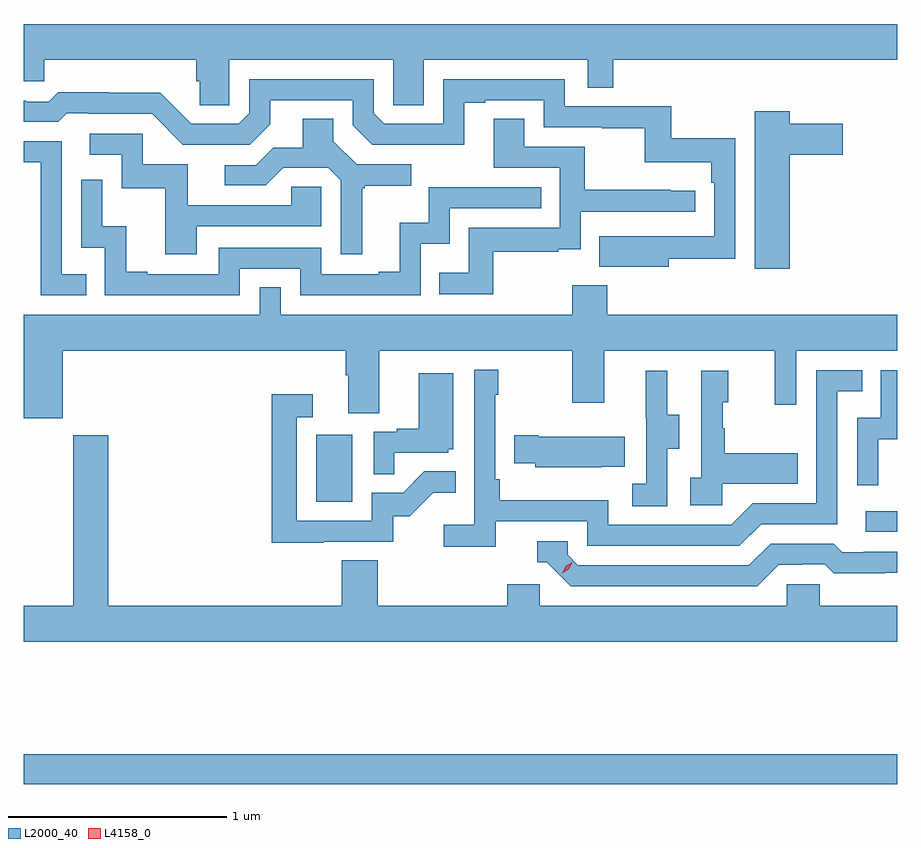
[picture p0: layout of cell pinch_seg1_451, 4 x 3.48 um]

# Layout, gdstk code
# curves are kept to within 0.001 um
import gdstk
lib = gdstk.Library(unit=1e-6, precision=1e-09)
def R(c, l, rs):  # rectangles x0, y0, x1, y1
    for r in rs: c.add(gdstk.rectangle(r[:2], r[2:], *l))
def P(c, l, *ps):  # polygons
    for p in ps: c.add(gdstk.Polygon(p, *l))
L2000_40 = (2000, 40)
L4158_0 = (4158, 0)

pinch_seg1_451 = lib.new_cell('pinch_seg1_451')
R(pinch_seg1_451, L2000_40, [(1010.91,503.128,1014.91,503.264), (1014.765,504.282,1014.91,504.378), (1012.25,504.42,1012.414,504.727)])
P(pinch_seg1_451, L2000_40, [(1011.852,506.444),(1012.602,506.444),(1012.602,506.236),(1012.741,506.236),(1012.741,506.444),(1013.493,506.444),(1013.493,506.317),(1013.609,506.317),(1013.609,506.444),(1014.91,506.444),(1014.91,506.608),(1010.91,506.608),(1010.91,506.346),(1011.003,506.346),(1011.003,506.444),(1011.701,506.444),(1011.701,506.346),(1011.715,506.346),(1011.715,506.236),(1011.852,506.236)],
  [(1013.863,505.534),(1014.168,505.534),(1014.168,506.086),(1013.875,506.086),(1013.875,506.232),(1013.388,506.232),(1013.388,506.355),(1012.83,506.355),(1012.83,506.151),(1012.56,506.151),(1012.512,506.199),(1012.512,506.355),(1011.942,506.355),(1011.942,506.199),(1011.894,506.151),(1011.678,506.151),(1011.536,506.293),(1011.3,506.293),(1011.3,506.296),(1011.067,506.296),(1011.025,506.253),(1010.922,506.253),(1010.922,506.256),(1010.91,506.256),(1010.91,506.16),(1011.067,506.16),(1011.106,506.199),(1011.205,506.199),(1011.205,506.196),(1011.498,506.196),(1011.639,506.055),(1011.945,506.055),(1012.039,506.149),(1012.039,506.259),(1012.416,506.259),(1012.416,506.145),(1012.506,506.055),(1012.927,506.054),(1012.927,506.247),(1013.023,506.247),(1013.023,506.259),(1013.292,506.259),(1013.292,506.136),(1013.557,506.136),(1013.557,506.131),(1013.754,506.131),(1013.754,505.976),(1014.059,505.976),(1014.059,505.88),(1014.072,505.88),(1014.072,505.635),(1013.545,505.636),(1013.545,505.496),(1013.863,505.496)],
  [(1014.418,506.009),(1014.661,506.009),(1014.661,506.151),(1014.418,506.151),(1014.418,506.209),(1014.257,506.209),(1014.257,505.488),(1014.418,505.488)],
  [(1013.059,505.566),(1013.357,505.566),(1013.357,505.577),(1013.46,505.577),(1013.46,505.749),(1013.986,505.749),(1013.986,505.845),(1013.873,505.845),(1013.873,505.85),(1013.48,505.85),(1013.48,506.046),(1013.203,506.046),(1013.203,506.174),(1013.063,506.174),(1013.063,505.95),(1013.364,505.95),(1013.364,505.674),(1012.948,505.674),(1012.948,505.468),(1012.813,505.468),(1012.813,505.371),(1013.059,505.371)],
  [(1012.459,505.857),(1012.471,505.857),(1012.471,505.868),(1012.684,505.868),(1012.684,505.965),(1012.434,505.965),(1012.327,506.072),(1012.327,506.174),(1012.187,506.174),(1012.187,506.042),(1012.052,506.042),(1011.972,505.962),(1011.831,505.962),(1011.831,505.869),(1012.018,505.869),(1012.099,505.95),(1012.305,505.95),(1012.362,505.893),(1012.362,505.554),(1012.459,505.554)],
  [(1011.703,505.683),(1012.272,505.683),(1012.272,505.863),(1012.135,505.863),(1012.135,505.779),(1011.661,505.779),(1011.661,505.965),(1011.456,505.965),(1011.456,506.106),(1011.213,506.106),(1011.213,506.01),(1011.36,506.01),(1011.36,505.857),(1011.559,505.857),(1011.559,505.554),(1011.703,505.554)],
  [(1011.197,505.461),(1011.084,505.461),(1011.084,506.07),(1010.91,506.07),(1010.91,505.974),(1010.988,505.974),(1010.988,505.365),(1011.197,505.365)],
  [(1011.9,505.488),(1012.176,505.488),(1012.176,505.365),(1012.728,505.365),(1012.728,505.601),(1012.86,505.601),(1012.86,505.764),(1013.279,505.764),(1013.279,505.86),(1012.764,505.86),(1012.764,505.699),(1012.631,505.699),(1012.631,505.474),(1012.535,505.474),(1012.535,505.461),(1012.272,505.461),(1012.272,505.584),(1011.804,505.584),(1011.804,505.461),(1011.475,505.461),(1011.475,505.474),(1011.38,505.474),(1011.38,505.682),(1011.27,505.682),(1011.27,505.894),(1011.174,505.894),(1011.174,505.584),(1011.282,505.584),(1011.282,505.365),(1011.9,505.365)],
  [(1011.088,505.112),(1012.385,505.112),(1012.385,505),(1012.397,505),(1012.397,504.826),(1012.537,504.826),(1012.537,505.112),(1013.422,505.112),(1013.422,504.873),(1013.569,504.873),(1013.569,505.112),(1014.35,505.112),(1014.35,504.864),(1014.447,504.864),(1014.447,505.112),(1014.91,505.112),(1014.91,505.276),(1013.582,505.276),(1013.582,505.411),(1013.422,505.411),(1013.422,505.276),(1012.086,505.276),(1012.086,505.403),(1011.99,505.403),(1011.99,505.276),(1010.91,505.276),(1010.91,504.803),(1011.088,504.803)],
  [(1013.072,504.33),(1013.49,504.33),(1013.49,504.219),(1014.187,504.219),(1014.286,504.318),(1014.636,504.318),(1014.636,504.927),(1014.749,504.927),(1014.749,505.023),(1014.54,505.023),(1014.54,504.414),(1014.249,504.414),(1014.15,504.315),(1013.586,504.315),(1013.586,504.427),(1013.09,504.427),(1013.09,504.523),(1013.07,504.523),(1013.07,504.911),(1013.083,504.911),(1013.083,505.024),(1012.974,505.024),(1012.974,504.316),(1012.833,504.316),(1012.833,504.214),(1013.072,504.214)],
  [(1014.822,504.707),(1014.91,504.707),(1014.91,505.023),(1014.834,505.023),(1014.834,504.804),(1014.726,504.804),(1014.726,504.495),(1014.822,504.495)],
  [(1013.856,504.664),(1013.911,504.664),(1013.911,504.819),(1013.857,504.819),(1013.857,505.021),(1013.759,505.021),(1013.759,504.807),(1013.76,504.807),(1013.76,504.503),(1013.697,504.503),(1013.697,504.4),(1013.856,504.4)],
  [(1014.108,504.503),(1014.455,504.503),(1014.455,504.643),(1014.121,504.643),(1014.121,504.758),(1014.111,504.758),(1014.111,504.876),(1014.136,504.876),(1014.136,505.021),(1014.012,505.021),(1014.012,504.53),(1013.961,504.53),(1013.961,504.405),(1014.108,504.405)],
  [(1012.607,504.645),(1012.854,504.645),(1012.854,504.66),(1012.876,504.66),(1012.876,505.009),(1012.718,505.009),(1012.718,504.754),(1012.619,504.754),(1012.619,504.741),(1012.512,504.741),(1012.512,504.547),(1012.607,504.547)],
  [(1012.283,504.237),(1012.602,504.237),(1012.602,504.354),(1012.678,504.354),(1012.785,504.461),(1012.889,504.461),(1012.889,504.56),(1012.745,504.56),(1012.647,504.462),(1012.503,504.462),(1012.503,504.333),(1012.161,504.333),(1012.161,504.807),(1012.234,504.807),(1012.234,504.913),(1012.045,504.913),(1012.045,504.232),(1012.283,504.232)],
  [(1013.555,504.581),(1013.663,504.581),(1013.663,504.718),(1013.266,504.718),(1013.266,504.726),(1013.155,504.726),(1013.155,504.596),(1013.253,504.596),(1013.253,504.578),(1013.555,504.578)],
  [(1014.91,503.944),(1014.555,503.944),(1014.555,504.042),(1014.405,504.042),(1014.405,503.944),(1013.274,503.944),(1013.274,504.042),(1013.123,504.042),(1013.123,503.944),(1012.532,503.944),(1012.532,504.152),(1012.367,504.152),(1012.367,503.944),(1011.296,503.944),(1011.296,504.724),(1011.136,504.724),(1011.136,503.944),(1010.91,503.944),(1010.91,503.78),(1014.91,503.78)],
  [(1014.367,504.132),(1014.474,504.132),(1014.474,504.135),(1014.577,504.135),(1014.619,504.093),(1014.852,504.093),(1014.852,504.095),(1014.91,504.095),(1014.91,504.192),(1014.757,504.192),(1014.757,504.189),(1014.658,504.189),(1014.619,504.228),(1014.33,504.228),(1014.231,504.129),(1013.448,504.129),(1013.4,504.177),(1013.4,504.24),(1013.261,504.24),(1013.261,504.144),(1013.304,504.144),(1013.415,504.033),(1014.268,504.033)])
P(pinch_seg1_451, L4158_0, [(1013.376,504.092),(1013.376,504.093),(1013.392,504.125),(1013.422,504.144),(1013.422,504.144),(1013.422,504.144),(1013.406,504.112),(1013.376,504.092)])

lib.write_gds('pinch_seg1_451.gds')
